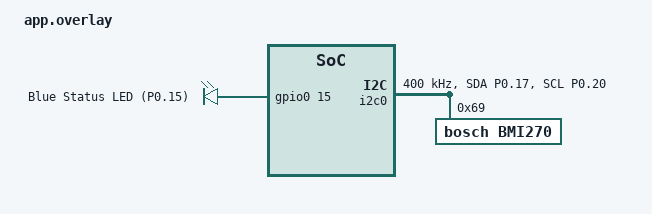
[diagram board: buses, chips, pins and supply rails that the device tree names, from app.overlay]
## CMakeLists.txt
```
cmake_minimum_required(VERSION 3.20.0)

find_package(Zephyr REQUIRED HINTS $ENV{ZEPHYR_BASE})
project(smartring_air_mouse)

target_sources(app PRIVATE src/main.c)
```

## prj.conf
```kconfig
# SmartRing Air Mouse Kconfig Configuration
CONFIG_NCS_SAMPLES_DEFAULTS=y

# 蓝牙基础配置
CONFIG_BT=y
CONFIG_BT_PERIPHERAL=y
CONFIG_BT_DEVICE_NAME="SmartRing Mouse"
CONFIG_BT_DEVICE_APPEARANCE=962
CONFIG_BT_MAX_CONN=1
CONFIG_BT_MAX_PAIRED=1

# 启用安全管理协议 (SMP / 配对与绑定支持)
CONFIG_BT_SMP=y
CONFIG_BT_SIGNING=y
CONFIG_BT_BONDABLE=y
CONFIG_BT_SMP_ENFORCE_MITM=n
CONFIG_BT_ID_UNPAIR_MATCHING_BONDS=y

# 启用配对信息持久化存储 (解决 Reason 19 自动断开问题)
CONFIG_SETTINGS=y
CONFIG_BT_SETTINGS=y
CONFIG_NVS=y
CONFIG_FLASH_MAP=y
CONFIG_FLASH=y

# 启用 HID 服务 (Human Interface Device)
CONFIG_BT_HIDS=y
CONFIG_BT_HIDS_MAX_CLIENT_COUNT=1
CONFIG_BT_HIDS_DEFAULT_PERM_RW_ENCRYPT=y
CONFIG_BT_GATT_UUID16_POOL_SIZE=40
CONFIG_BT_GATT_CHRC_POOL_SIZE=20
CONFIG_BT_CONN_CTX=y

# 电池与设备信息服务 (BAS & DIS)
CONFIG_BT_BAS=y
CONFIG_BT_DIS=y
CONFIG_BT_DIS_PNP=y
CONFIG_BT_DIS_MANUF="SmartRing"
CONFIG_BT_DIS_PNP_VID_SRC=2
CONFIG_BT_DIS_PNP_VID=0x1915
CONFIG_BT_DIS_PNP_PID=0xEEEE
CONFIG_BT_DIS_PNP_VER=0x0100

# 传感器与 I2C / BMI270 驱动
CONFIG_I2C=y
CONFIG_SENSOR=y
CONFIG_BMI270=y

# GPIO
CONFIG_GPIO=y

# 浮点数运算支持 (用于陀螺仪滤波计算)
CONFIG_FPU=y
CONFIG_CBPRINTF_FP_SUPPORT=y

# 堆栈与工作队列
CONFIG_MAIN_STACK_SIZE=2048
CONFIG_SYSTEM_WORKQUEUE_STACK_SIZE=2048

# 日志输出配置
CONFIG_LOG=y
CONFIG_LOG_DEFAULT_LEVEL=3
CONFIG_SENSOR_LOG_LEVEL_WRN=y
```

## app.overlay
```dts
#include <zephyr/dt-bindings/pinctrl/nrf-pinctrl.h>

/ {
	aliases {
		led0 = &led_blue;
	};

	leds {
		compatible = "gpio-leds";
		led_blue: led_0 {
			gpios = <&gpio0 15 GPIO_ACTIVE_HIGH>;
			label = "Blue Status LED (P0.15)";
		};
	};
};

&code_partition {
	reg = <0x00026000 0x000c6000>;
};

&pinctrl {
	i2c0_default: i2c0_default {
		group1 {
			psels = <NRF_PSEL(TWIM_SDA, 0, 17)>,
				<NRF_PSEL(TWIM_SCL, 0, 20)>;
			bias-pull-up;
		};
	};

	i2c0_sleep: i2c0_sleep {
		group1 {
			psels = <NRF_PSEL(TWIM_SDA, 0, 17)>,
				<NRF_PSEL(TWIM_SCL, 0, 20)>;
			low-power-enable;
		};
	};
};

&i2c0 {
	status = "okay";
	pinctrl-0 = <&i2c0_default>;
	pinctrl-1 = <&i2c0_sleep>;
	pinctrl-names = "default", "sleep";
	clock-frequency = <I2C_BITRATE_FAST>;

	/* 关键配置：BMI270 微码固件单次突发写入 256 字节，默认 16 字节缓冲区会报 -ENOSPC 导致驱动初始化失败 */
	zephyr,concat-buf-size = <260>;
	zephyr,flash-buf-max-size = <260>;

	/* 根据实测，模块物理地址为 0x69 */
	bmi270: bmi270@69 {
		compatible = "bosch,bmi270";
		reg = <0x69>;
		status = "okay";
	};
};
```

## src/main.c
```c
/*
 * SmartRing Air Mouse (智能戒指空中飞鼠 - 官方驱动微码固件版)
 * Hardware: nRF52840 (Nice!Nano / XIAO) + Bosch BMI270 (I2C 地址 0x69)
 * Software: nRF Connect SDK / Zephyr RTOS
 */

#include <zephyr/types.h>
#include <stddef.h>
#include <string.h>
#include <errno.h>
#include <math.h>
#include <zephyr/kernel.h>
#include <zephyr/sys/printk.h>
#include <zephyr/drivers/gpio.h>
#include <zephyr/drivers/i2c.h>
#include <zephyr/drivers/sensor.h>
#include <zephyr/settings/settings.h>
#include <zephyr/logging/log.h>

#include <zephyr/bluetooth/bluetooth.h>
#include <zephyr/bluetooth/hci.h>
#include <zephyr/bluetooth/conn.h>
#include <zephyr/bluetooth/uuid.h>
#include <zephyr/bluetooth/gatt.h>
#include <bluetooth/services/hids.h>
#include <zephyr/bluetooth/services/bas.h>
#include <zephyr/bluetooth/services/dis.h>

LOG_MODULE_REGISTER(air_mouse, LOG_LEVEL_INF);

/* ================== 硬件设备定义 ================== */
static const struct gpio_dt_spec led = GPIO_DT_SPEC_GET(DT_ALIAS(led0), gpios);
static const struct device *const bmi270_dev = DEVICE_DT_GET_ONE(bosch_bmi270);

/* ================== 飞鼠参数调节 ================== */
#define MOUSE_SAMPLE_INTERVAL_MS 15    // 约 66 Hz

/* 1. 动态零偏校准参数 */
#define CALIB_STATIONARY_GYRO_THRESH 0.08f // 静止角速度门限 (rad/s)
#define CALIB_STATIONARY_ACC_THRESH  0.40f // 静止加速度变化门限 (m/s^2)
#define CALIB_STATIONARY_TICKS_REQ   20    // 连续静止 ~300ms 判定为稳定静止
#define CALIB_BIAS_ALPHA             0.02f // 零偏低通平滑跟踪速度

/* 2. 自适应抗手抖低通平滑滤波 (动态 EMA) */
#define EMA_ALPHA_SLOW               0.22f // 慢速瞄准滤波因子 (强滤波，滤除生理微颤)
#define EMA_ALPHA_FAST               0.85f // 快速甩动滤波因子 (低延迟，瞬时跟手)
#define EMA_SPEED_TRANSITION_THRESH  0.55f // 慢速->快速过渡速度阈值 (rad/s)

/* 3. 自适应死区 */
#define GYRO_DEADBAND                0.035f // 死区阈值 (rad/s)

/* 4. 非线性加速度曲线与灵敏度 (Ballistics) */
#define MOUSE_BASE_SENSITIVITY       14.0f // 基础像素灵敏度
#define MOUSE_ACCEL_POWER            1.35f // 指数加速度增益幂次
#define MOUSE_ACCEL_FACTOR           0.80f // 加速度曲线斜率

/* 5. 敲击手势参数 */
#define TAP_JERK_THRESHOLD           13.0f // 敲击瞬时冲击变化率阈值 (m/s^2)
#define TAP_DOUBLE_WINDOW_MS         320   // 双击最大判定时间 (ms)
#define TAP_DEBOUNCE_MS              60
#define TAP_COOLDOWN_MS              180
#define TAP_CLICK_HOLD_MS            45
#define TAP_FREEZE_CURSOR_MS         120   // 敲击瞬间冻结光标防止抖动位移 (ms)

enum tap_state {
	TAP_IDLE,
	TAP_WAIT_SECOND,
	TAP_COOLDOWN
};

/* ================== 蓝牙 HID 鼠标定义 ================== */
#define BASE_USB_HID_SPEC_VERSION 0x0101
#define INPUT_REP_LEN             4
#define INPUT_REP_INDEX           0

BT_HIDS_DEF(hids_obj, INPUT_REP_LEN);
static struct bt_conn *current_conn = NULL;

static const uint8_t hid_report_map[] = {
	0x05, 0x01, 0x09, 0x02, 0xA1, 0x01, 0x09, 0x01, 0xA1, 0x00,
	0x05, 0x09, 0x19, 0x01, 0x29, 0x03, 0x15, 0x00, 0x25, 0x01,
	0x95, 0x03, 0x75, 0x01, 0x81, 0x02, 0x95, 0x01, 0x75, 0x05,
	0x81, 0x03, 0x05, 0x01, 0x09, 0x30, 0x09, 0x31, 0x15, 0x81,
	0x25, 0x7F, 0x75, 0x08, 0x95, 0x02, 0x81, 0x06, 0x09, 0x38,
	0x15, 0x81, 0x25, 0x7F, 0x75, 0x08, 0x95, 0x01, 0x81, 0x06,
	0xC0, 0xC0
};

static const struct bt_data ad[] = {
	BT_DATA_BYTES(BT_DATA_FLAGS, (BT_LE_AD_GENERAL | BT_LE_AD_NO_BREDR)),
	BT_DATA_BYTES(BT_DATA_UUID16_ALL,
		      BT_UUID_16_ENCODE(BT_UUID_HIDS_VAL),
		      BT_UUID_16_ENCODE(BT_UUID_BAS_VAL)),
	BT_DATA(BT_DATA_NAME_COMPLETE, CONFIG_BT_DEVICE_NAME, sizeof(CONFIG_BT_DEVICE_NAME) - 1),
};


static void pairing_complete(struct bt_conn *conn, bool bonded)
{
	printk("[BLE] 配对成功并绑定 (Bonded: %d)\n", bonded);
}

static void pairing_failed(struct bt_conn *conn, enum bt_security_err reason)
{
	printk("[BLE] 配对事件 (reason %d)\n", reason);
}

static void pairing_confirm(struct bt_conn *conn)
{
	int err = bt_conn_auth_pairing_confirm(conn);
	printk("[BLE] 收到 Just Works 配对请求，自动同意确认 (err %d)\n", err);
}

static void passkey_confirm(struct bt_conn *conn, unsigned int passkey)
{
	int err = bt_conn_auth_passkey_confirm(conn);
	printk("[BLE] 收到数值比对请求 (%06u)，自动确认同意 (err %d)\n", passkey, err);
}

static void passkey_display(struct bt_conn *conn, unsigned int passkey)
{
	printk("[BLE] 配对密钥: %06u\n", passkey);
}

static void auth_cancel(struct bt_conn *conn)
{
	printk("[BLE] 配对取消\n");
}

/* 注册完整自动应答认证回调，全自动同意 Windows 的配对要求 */
static struct bt_conn_auth_cb conn_auth_callbacks = {
	.passkey_display = passkey_display,
	.passkey_confirm = passkey_confirm,
	.pairing_confirm = pairing_confirm,
	.cancel = auth_cancel,
};

static struct bt_conn_auth_info_cb conn_auth_info_callbacks = {
	.pairing_complete = pairing_complete,
	.pairing_failed = pairing_failed,
};

static void connected(struct bt_conn *conn, uint8_t err)
{
	if (!err) {
		current_conn = bt_conn_ref(conn);
		int hids_err = bt_hids_connected(&hids_obj, conn);
		if (hids_err) {
			printk("[BLE] HIDS 连接分配失败 (err %d)\n", hids_err);
		}
		gpio_pin_set_dt(&led, 1);
		printk("[BLE] 已连接到主机!\n");
	} else {
		printk("[BLE] 连接失败 (err %u)\n", err);
	}
}

static void disconnected(struct bt_conn *conn, uint8_t reason)
{
	printk("[BLE] 连接断开 (reason %u)\n", reason);
	if (current_conn) {
		bt_hids_disconnected(&hids_obj, current_conn);
		bt_conn_unref(current_conn);
		current_conn = NULL;
	}
	gpio_pin_set_dt(&led, 0);

	/* 重新开启蓝牙广播，让电脑可以搜索并重新连接 */
	int err = bt_le_adv_start(BT_LE_ADV_CONN, ad, ARRAY_SIZE(ad), NULL, 0);
	if (err && err != -EALREADY) {
		printk("[BLE] 重新广播失败 (err %d)\n", err);
	} else {
		printk("[BLE] 已重新开启广播，等待连接...\n");
	}
}

static void security_changed(struct bt_conn *conn, bt_security_t level, enum bt_security_err err)
{
	printk("[BLE] 安全连接级别变更: level %u (err %d)\n", level, err);
}

BT_CONN_CB_DEFINE(conn_callbacks) = {
	.connected = connected,
	.disconnected = disconnected,
	.security_changed = security_changed,
};

static void hids_init(void)
{
	struct bt_hids_init_param param = { 0 };
	param.rep_map.data = hid_report_map;
	param.rep_map.size = sizeof(hid_report_map);
	param.info.bcd_hid = BASE_USB_HID_SPEC_VERSION;
	param.info.b_country_code = 0x00;
	param.info.flags = (BT_HIDS_REMOTE_WAKE | BT_HIDS_NORMALLY_CONNECTABLE);

	struct bt_hids_inp_rep *rep = &param.inp_rep_group_init.reports[0];
	rep->size = INPUT_REP_LEN;
	rep->id = 0;
	param.inp_rep_group_init.cnt = 1;
	param.is_mouse = true;

	bt_hids_init(&hids_obj, &param);
}

static void send_mouse_report(uint8_t buttons, int8_t dx, int8_t dy, int8_t wheel)
{
	if (current_conn && bt_conn_get_security(current_conn) >= BT_SECURITY_L2) {
		uint8_t report[4] = { buttons, (uint8_t)dx, (uint8_t)dy, (uint8_t)wheel };
		bt_hids_inp_rep_send(&hids_obj, current_conn, INPUT_REP_INDEX, report, sizeof(report), NULL);
	}
}

/* ================== BMI270 官方驱动配置 ================== */
static int init_bmi270(const struct device *dev)
{
	if (!device_is_ready(dev)) {
		printk("ERROR: BMI270 driver device not ready!\n");
		if (dev && dev->state) {
			printk("  [驱动设备名称]: %s\n", dev->name ? dev->name : "NULL");
			printk("  [驱动初始化状态]: initialized=%d, init_res=%d\n", dev->state->initialized, dev->state->init_res);
		}
		const struct device *i2c_bus = DEVICE_DT_GET(DT_NODELABEL(i2c0));
		if (device_is_ready(i2c_bus)) {
			uint8_t chip_id = 0, internal_stat = 0, err_reg = 0, pwr_conf = 0, pwr_ctrl = 0;
			i2c_reg_read_byte(i2c_bus, 0x69, 0x00, &chip_id);
			i2c_reg_read_byte(i2c_bus, 0x69, 0x21, &internal_stat);
			i2c_reg_read_byte(i2c_bus, 0x69, 0x02, &err_reg);
			i2c_reg_read_byte(i2c_bus, 0x69, 0x7C, &pwr_conf);
			i2c_reg_read_byte(i2c_bus, 0x69, 0x7D, &pwr_ctrl);
			printk("  [I2C 0x69 诊断]: CHIP_ID=0x%02X, INTERNAL_STAT=0x%02X, ERR_REG=0x%02X, PWR_CONF=0x%02X, PWR_CTRL=0x%02X\n",
			       chip_id, internal_stat, err_reg, pwr_conf, pwr_ctrl);
		}
		return -ENODEV;
	}

	printk("SUCCESS: BMI270 device %s ready! Loading attributes...\n", dev->name);

	struct sensor_value full_scale, sampling_freq, oversampling;

	/* 1. 加速度计配置: ±4G, 100Hz ODR */
	full_scale.val1 = 4;
	full_scale.val2 = 0;
	sampling_freq.val1 = 100;
	sampling_freq.val2 = 0;
	oversampling.val1 = 1;
	oversampling.val2 = 0;

	sensor_attr_set(dev, SENSOR_CHAN_ACCEL_XYZ, SENSOR_ATTR_FULL_SCALE, &full_scale);
	sensor_attr_set(dev, SENSOR_CHAN_ACCEL_XYZ, SENSOR_ATTR_OVERSAMPLING, &oversampling);
	sensor_attr_set(dev, SENSOR_CHAN_ACCEL_XYZ, SENSOR_ATTR_SAMPLING_FREQUENCY, &sampling_freq);

	/* 2. 陀螺仪配置: 2000 dps, 100Hz ODR */
	full_scale.val1 = 2000;
	full_scale.val2 = 0;
	sampling_freq.val1 = 100;
	sampling_freq.val2 = 0;
	oversampling.val1 = 1;
	oversampling.val2 = 0;

	sensor_attr_set(dev, SENSOR_CHAN_GYRO_XYZ, SENSOR_ATTR_FULL_SCALE, &full_scale);
	sensor_attr_set(dev, SENSOR_CHAN_GYRO_XYZ, SENSOR_ATTR_OVERSAMPLING, &oversampling);
	sensor_attr_set(dev, SENSOR_CHAN_GYRO_XYZ, SENSOR_ATTR_SAMPLING_FREQUENCY, &sampling_freq);

	printk("SUCCESS: BMI270 100Hz ODR & power modes activated!\n");
	return 0;
}

static inline double sensor_to_double(const struct sensor_value *val)
{
	return (double)val->val1 + (double)val->val2 / 1000000.0;
}

/* ================== 主程序 ================== */
int main(void)
{
	printk("\n\n==============================================\n");
	printk("   SmartRing Air Mouse (BMI270 驱动微码版)\n");
	printk("==============================================\n");

	if (gpio_is_ready_dt(&led)) {
		gpio_pin_configure_dt(&led, GPIO_OUTPUT_INACTIVE);
	}

	/* 1. 初始化 BMI270 采样率和量程 */
	int bmi_err = init_bmi270(bmi270_dev);
	if (bmi_err) {
		printk("[WARN] BMI270 init returned %d\n", bmi_err);
	}

	/* 2. 注册安全配对回调 */
	bt_conn_auth_cb_register(&conn_auth_callbacks);
	bt_conn_auth_info_cb_register(&conn_auth_info_callbacks);

	/* 3. 蓝牙与 HID 初始化 */
	hids_init();
	bt_enable(NULL);

	if (IS_ENABLED(CONFIG_SETTINGS)) {
		settings_load();
	}

	/* 4. 开始蓝牙广播 */
	bt_le_adv_start(BT_LE_ADV_CONN, ad, ARRAY_SIZE(ad), NULL, 0);
	printk("[BLE] 广播已开启，设备名: '%s'...\n\n", CONFIG_BT_DEVICE_NAME);

	/* 5. 飞鼠状态与滤波变量定义 */
	uint32_t loop_count = 0;
	uint8_t last_buttons = 0;
	enum tap_state tap_st = TAP_IDLE;
	int32_t tap_window_timer = 0, tap_debounce_timer = 0, tap_cooldown_timer = 0;
	int32_t freeze_cursor_timer = 0, click_release_timer = 0;
	uint8_t gesture_button_state = 0;
	double prev_accel_mag = 9.8;

	/* 动态零偏校准状态 */
	float gyro_bias_x = 0.0f, gyro_bias_y = 0.0f, gyro_bias_z = 0.0f;
	uint32_t stationary_counter = 0;
	float prev_acc_mag_stationary = 9.8f;

	/* 自适应抗手抖低通平滑状态 */
	float ema_filtered_x = 0.0f;
	float ema_filtered_y = 0.0f;

	/* 亚像素分数累加器 (确保慢速瞄准极度细腻无台阶感) */
	float subpixel_x = 0.0f;
	float subpixel_y = 0.0f;

	struct sensor_value acc_val[3] = { 0 };
	struct sensor_value gyr_val[3] = { 0 };

	while (1) {
		k_msleep(MOUSE_SAMPLE_INTERVAL_MS);
		loop_count++;

		/* 未连蓝牙时 LED 慢闪 */
		if (!current_conn && (loop_count % (500 / MOUSE_SAMPLE_INTERVAL_MS) == 0)) {
			gpio_pin_toggle_dt(&led);
		}

		int8_t mouse_dx = 0, mouse_dy = 0;
		double gx = 0.0, gy = 0.0, gz = 0.0;
		double ax = 0.0, ay = 0.0, az = 0.0;
		double jerk = 0.0;

		/* 从 BMI270 抓取数据 */
		if (sensor_sample_fetch(bmi270_dev) == 0) {
			sensor_channel_get(bmi270_dev, SENSOR_CHAN_ACCEL_XYZ, acc_val);
			sensor_channel_get(bmi270_dev, SENSOR_CHAN_GYRO_XYZ, gyr_val);

			ax = sensor_to_double(&acc_val[0]);
			ay = sensor_to_double(&acc_val[1]);
			az = sensor_to_double(&acc_val[2]);

			gx = sensor_to_double(&gyr_val[0]);
			gy = sensor_to_double(&gyr_val[1]);
			gz = sensor_to_double(&gyr_val[2]);

			/* --- 敲击冲击检测 --- */
			double accel_mag = sqrt(ax * ax + ay * ay + az * az);
			jerk = fabs(accel_mag - prev_accel_mag);
			prev_accel_mag = accel_mag;

			bool is_tap_impulse = (jerk > TAP_JERK_THRESHOLD);

			if (tap_debounce_timer > 0) tap_debounce_timer -= MOUSE_SAMPLE_INTERVAL_MS;
			if (tap_cooldown_timer > 0) tap_cooldown_timer -= MOUSE_SAMPLE_INTERVAL_MS;
			if (freeze_cursor_timer > 0) freeze_cursor_timer -= MOUSE_SAMPLE_INTERVAL_MS;
			if (click_release_timer > 0) {
				click_release_timer -= MOUSE_SAMPLE_INTERVAL_MS;
				if (click_release_timer <= 0) gesture_button_state = 0;
			}

			switch (tap_st) {
			case TAP_IDLE:
				if (is_tap_impulse && tap_cooldown_timer <= 0) {
					tap_st = TAP_WAIT_SECOND;
					tap_window_timer = TAP_DOUBLE_WINDOW_MS;
					tap_debounce_timer = TAP_DEBOUNCE_MS;
					freeze_cursor_timer = TAP_FREEZE_CURSOR_MS;
				}
				break;
			case TAP_WAIT_SECOND:
				tap_window_timer -= MOUSE_SAMPLE_INTERVAL_MS;
				if (is_tap_impulse && tap_debounce_timer <= 0) {
					printk(">> Double Tap -> 鼠标右键\n");
					gesture_button_state = 0x02;
					click_release_timer = TAP_CLICK_HOLD_MS;
					tap_cooldown_timer = TAP_COOLDOWN_MS;
					freeze_cursor_timer = TAP_FREEZE_CURSOR_MS;
					tap_st = TAP_COOLDOWN;
				} else if (tap_window_timer <= 0) {
					printk(">> Single Tap -> 鼠标左键\n");
					gesture_button_state = 0x01;
					click_release_timer = TAP_CLICK_HOLD_MS;
					tap_cooldown_timer = TAP_COOLDOWN_MS;
					freeze_cursor_timer = TAP_FREEZE_CURSOR_MS;
					tap_st = TAP_COOLDOWN;
				}
				break;
			case TAP_COOLDOWN:
				if (tap_cooldown_timer <= 0) tap_st = TAP_IDLE;
				break;
			}

			/* --- 1. 动态零偏消除 (Zero-rate Bias Calibration) --- */
			float gyro_mag = sqrtf((float)(gx * gx + gy * gy + gz * gz));
			float acc_mag = (float)accel_mag;
			float acc_delta = fabsf(acc_mag - prev_acc_mag_stationary);
			prev_acc_mag_stationary = acc_mag;

			bool is_stationary = (gyro_mag < CALIB_STATIONARY_GYRO_THRESH) &&
					     (acc_delta < CALIB_STATIONARY_ACC_THRESH);

			if (is_stationary) {
				if (stationary_counter < CALIB_STATIONARY_TICKS_REQ) {
					stationary_counter++;
				} else {
					/* 稳定静止状态，慢速平滑跟踪学习真实零偏 */
					gyro_bias_x += ((float)gx - gyro_bias_x) * CALIB_BIAS_ALPHA;
					gyro_bias_y += ((float)gy - gyro_bias_y) * CALIB_BIAS_ALPHA;
					gyro_bias_z += ((float)gz - gyro_bias_z) * CALIB_BIAS_ALPHA;
				}
			} else {
				stationary_counter = 0;
			}

			/* 扣除零偏 */
			float unbiased_x = (float)gx - gyro_bias_x;
			float unbiased_z = (float)gz - gyro_bias_z;

			/* --- 2. 轴向映射与自适应死区判定 --- */
			float raw_input_x = unbiased_z;
			float raw_input_y = -unbiased_x;
			float input_mag = sqrtf(raw_input_x * raw_input_x + raw_input_y * raw_input_y);

			if (input_mag < GYRO_DEADBAND || is_stationary) {
				raw_input_x = 0.0f;
				raw_input_y = 0.0f;
				input_mag = 0.0f;
			}

			/* --- 3. 自适应抗手抖低通平滑 (动态 EMA 滤波) --- */
			float alpha = EMA_ALPHA_SLOW;
			if (input_mag > EMA_SPEED_TRANSITION_THRESH) {
				alpha = EMA_ALPHA_FAST;
			} else if (input_mag > 0.0f) {
				float ratio = input_mag / EMA_SPEED_TRANSITION_THRESH;
				alpha = EMA_ALPHA_SLOW + ratio * (EMA_ALPHA_FAST - EMA_ALPHA_SLOW);
			}

			ema_filtered_x = ema_filtered_x * (1.0f - alpha) + raw_input_x * alpha;
			ema_filtered_y = ema_filtered_y * (1.0f - alpha) + raw_input_y * alpha;

			/* --- 4. 非线性动力加速度曲线 (Ballistics) 与亚像素累加 --- */
			if (freeze_cursor_timer <= 0) {
				float filtered_speed = sqrtf(ema_filtered_x * ema_filtered_x + ema_filtered_y * ema_filtered_y);

				if (filtered_speed > 0.005f) {
					/* 指数加速乘数：慢速精细瞄准为 ~1.0，快速甩动时指数放大 */
					float accel_mult = 1.0f + MOUSE_ACCEL_FACTOR * powf(filtered_speed, MOUSE_ACCEL_POWER);

					float delta_x_float = ema_filtered_x * MOUSE_BASE_SENSITIVITY * accel_mult;
					float delta_y_float = ema_filtered_y * MOUSE_BASE_SENSITIVITY * accel_mult;

					/* 亚像素积分累加，不丢弃微小位移 */
					subpixel_x += delta_x_float;
					subpixel_y += delta_y_float;

					int step_x = (int)subpixel_x;
					int step_y = (int)subpixel_y;

					subpixel_x -= (float)step_x;
					subpixel_y -= (float)step_y;

					/* 限幅至 int8_t [-127, 127] */
					if (step_x > 127) step_x = 127;
					if (step_x < -127) step_x = -127;
					if (step_y > 127) step_y = 127;
					if (step_y < -127) step_y = -127;

					mouse_dx = (int8_t)step_x;
					mouse_dy = (int8_t)step_y;
				} else {
					subpixel_x = 0.0f;
					subpixel_y = 0.0f;
				}
			} else {
				/* 敲击冻结期间，清空累加器，避免敲击结束瞬间光标跳变 */
				subpixel_x = 0.0f;
				subpixel_y = 0.0f;
				ema_filtered_x = 0.0f;
				ema_filtered_y = 0.0f;
			}
		}

		/* 周期输出到上位机调试器 (约 45ms 刷新一次) */
		if (loop_count % 3 == 0) {
			printk("[BMI] G:%.2f,%.2f,%.2f | A:%.2f,%.2f,%.2f | J:%.2f | M:%d,%d\n",
			       gx, gy, gz, ax, ay, az, jerk, mouse_dx, mouse_dy);
		}

		/* 发送 HID 蓝牙报文 */
		if (current_conn && (mouse_dx != 0 || mouse_dy != 0 || gesture_button_state != last_buttons)) {
			send_mouse_report(gesture_button_state, mouse_dx, mouse_dy, 0);
			last_buttons = gesture_button_state;
		}
	}

	return 0;
}
```
